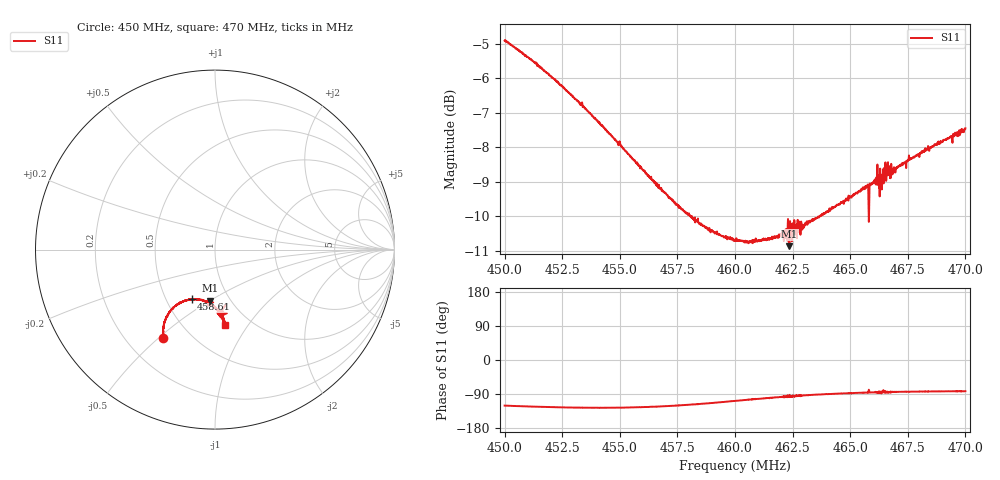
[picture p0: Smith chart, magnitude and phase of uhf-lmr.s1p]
! Calibrated averaged scanner-service zoom
# Hz S RI R 50
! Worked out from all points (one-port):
!   2001 points, 450 MHz to 470 MHz, reference 50 ohm
!   lowest |S11| = -10.9 dB at 462.36 MHz (marker M1), VSWR 1.80, Z = 40.5 - j25.2 ohm
!   |S11| at or under -10 dB: 458.0587 MHz to 458.0627 MHz (3.984 kHz wide, 0.00087 % of centre); 458.0754 MHz to 458.1294 MHz (54.02 kHz wide, 0.0118 % of centre); 458.13 MHz to 463.68 MHz (5.545 MHz wide, 1.2 % of centre)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
!   S11 on the Smith chart (normalised r, x): 450 MHz: 0.36, -0.52; 458.61 MHz: 0.67, -0.41; 470 MHz: 0.77, -0.79
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4.5e8  -0.287 -0.4899
4.5124e8  -0.2888 -0.4443
4.525e8  -0.2797 -0.3993
4.5373e8  -0.2612 -0.3601
4.55e8  -0.2372 -0.3273
4.5621e8  -0.202 -0.3005
4.575e8  -0.1645 -0.2838
4.5861e8  -0.1306 -0.2771
4.5945e8  -0.1061 -0.2764
4.6e8  -0.0896 -0.277
4.6105e8  -0.0626 -0.2842
4.6236e8  -0.0255 -0.2851
4.625e8  -0.0393 -0.3022
4.6272e8  -0.0253 -0.3115
4.6389e8  -0.00341 -0.3187
4.65e8  0.0152 -0.3366
4.6568e8  0.0249 -0.3489
4.6573e8  0.0245 -0.3494
4.6589e8  0.0262 -0.3497
4.6594e8  0.0264 -0.3517
4.6614e8  0.031 -0.3588
4.6629e8  0.0267 -0.3548
4.6635e8  0.0123 -0.3519
4.6652e8  0.0361 -0.3624
4.6657e8  0.0283 -0.357
4.6682e8  0.0386 -0.3615
4.675e8  0.041 -0.379
4.7e8  0.0565 -0.4202
